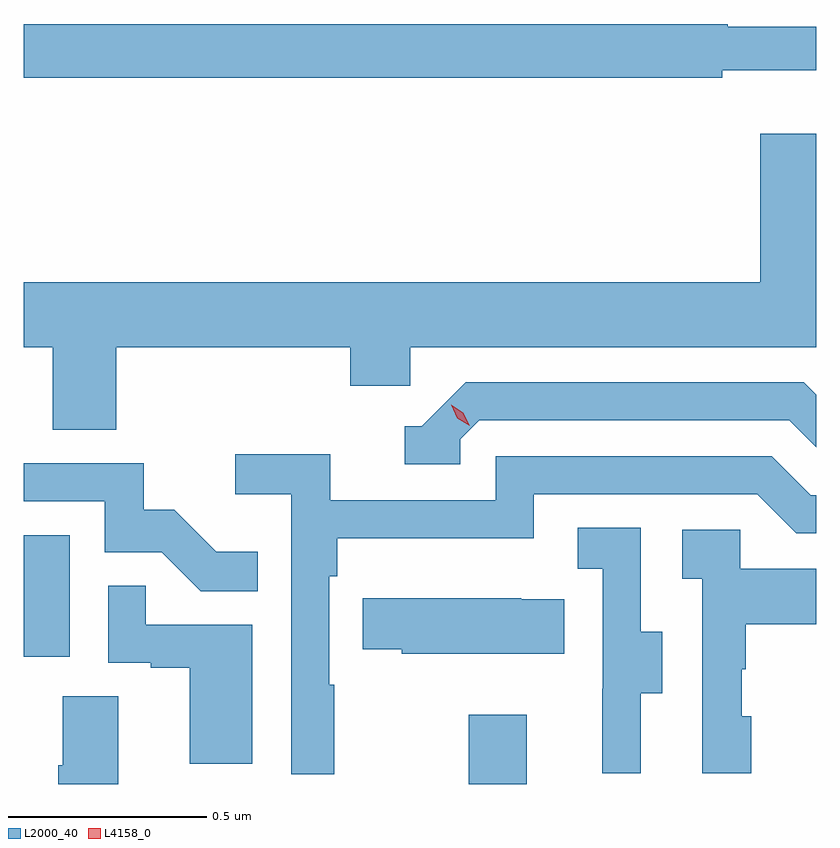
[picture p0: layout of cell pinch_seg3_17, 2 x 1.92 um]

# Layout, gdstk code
import gdstk
lib = gdstk.Library(unit=1e-6, precision=1e-09)
def R(c, l, rs):  # rectangles x0, y0, x1, y1
    for r in rs: c.add(gdstk.rectangle(r[:2], r[2:], *l))
def P(c, l, *ps):  # polygons
    for p in ps: c.add(gdstk.Polygon(p, *l))
L2000_40 = (2000, 40)
L4158_0 = (4158, 0)

pinch_seg3_17 = lib.new_cell('pinch_seg3_17')
R(pinch_seg3_17, L2000_40, [(1123.312,745.101,1123.459,745.276), (1122.189,745.422,1122.304,745.729)])
P(pinch_seg3_17, L2000_40, [(1123.952,746.903),(1124.189,746.903),(1124.189,747.013),(1123.966,747.013),(1123.966,747.02),(1122.189,747.02),(1122.189,746.884),(1123.952,746.884)],
  [(1122.422,746.204),(1123.013,746.204),(1123.013,746.106),(1123.164,746.106),(1123.164,746.204),(1124.189,746.204),(1124.189,746.743),(1124.048,746.743),(1124.048,746.368),(1122.189,746.368),(1122.189,746.204),(1122.262,746.204),(1122.262,745.996),(1122.422,745.996)],
  [(1123.29,745.971),(1123.338,746.019),(1124.121,746.019),(1124.189,745.951),(1124.189,746.084),(1124.158,746.115),(1123.305,746.115),(1123.194,746.004),(1123.151,746.004),(1123.151,745.908),(1123.29,745.908)],
  [(1122.973,745.352),(1122.96,745.352),(1122.96,745.625),(1122.98,745.625),(1122.98,745.721),(1123.476,745.721),(1123.476,745.833),(1124.04,745.833),(1124.139,745.734),(1124.189,745.734),(1124.189,745.83),(1124.176,745.83),(1124.077,745.929),(1123.38,745.929),(1123.38,745.818),(1122.962,745.818),(1122.962,745.934),(1122.723,745.934),(1122.723,745.832),(1122.864,745.832),(1122.864,745.125),(1122.973,745.125)],
  [(1122.779,745.687),(1122.675,745.687),(1122.568,745.794),(1122.492,745.794),(1122.492,745.911),(1122.189,745.911),(1122.189,745.815),(1122.393,745.815),(1122.393,745.686),(1122.537,745.686),(1122.635,745.588),(1122.779,745.588)],
  [(1123.747,745.33),(1123.801,745.33),(1123.801,745.485),(1123.746,745.485),(1123.746,745.748),(1123.587,745.748),(1123.587,745.645),(1123.65,745.645),(1123.65,745.341),(1123.649,745.341),(1123.649,745.128),(1123.747,745.128)],
  [(1124.026,745.272),(1124.001,745.272),(1124.001,745.391),(1124.011,745.391),(1124.011,745.505),(1124.189,745.505),(1124.189,745.645),(1123.998,745.645),(1123.998,745.743),(1123.851,745.743),(1123.851,745.619),(1123.902,745.619),(1123.902,745.128),(1124.026,745.128)],
  [(1122.766,745.503),(1122.497,745.503),(1122.497,745.601),(1122.402,745.601),(1122.402,745.407),(1122.509,745.407),(1122.509,745.395),(1122.608,745.395),(1122.608,745.152),(1122.766,745.152)],
  [(1123.553,745.567),(1123.445,745.567),(1123.445,745.57),(1123.045,745.57),(1123.045,745.441),(1123.143,745.441),(1123.143,745.43),(1123.553,745.43)],
  [(1122.427,745.322),(1122.287,745.322),(1122.287,745.148),(1122.275,745.148),(1122.275,745.101),(1122.427,745.101)])
P(pinch_seg3_17, L4158_0, [(1123.314,746.005),(1123.283,746.025),(1123.268,746.058),(1123.268,746.058),(1123.268,746.058),(1123.298,746.038),(1123.314,746.005),(1123.314,746.005)])

lib.write_gds('pinch_seg3_17.gds')
